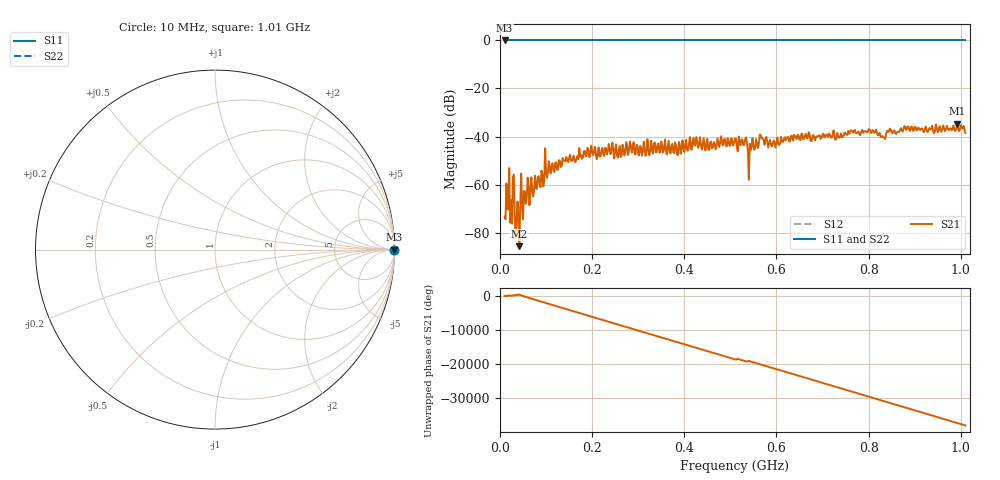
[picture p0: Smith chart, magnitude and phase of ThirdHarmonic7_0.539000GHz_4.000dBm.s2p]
! 8/17/2025 4:11:41 PM
! C:\ANRITSUVNA\TEMP\TEMP.S2P
! CHANNEL.1
! TR.MEASUREMENT
! RAW.DATA
! RF.CORRECTION.OFF
! AVERAGING.OFF
! IF.BANDWIDTH: 5KHZ
! SWEEPTYPE:  FREQ.SWEEP(Linear)
! Reference Plane Port Info
! PORT:  PORT1  PORT2
! DISTANCE:  0  m  0  m
! TIME:  0  s  0  s
! PHASE.OFFSET:  0  deg.  0  deg.
! LOSS:  0  dB  0  dB
! REF.LOSS:  0  dB  0  dB
! REF.FREQ:  0  Hz  0  Hz
! Power Info
! POWER:  -20  dBm  -20  dBm
! EFF.POWER:  -20  dBm  -20  dBm
! SOURCE.ATTEN:  0  dB  0  dB
! TEST.ATTEN:  0  dB  0  dB
# GHZ S RI R 50.0
! FREQ.GHZ  S11RE  S11IM  S21RE  S21IM  S12RE  S12IM  S22RE  S22IM
!; PortSelection: Port_12
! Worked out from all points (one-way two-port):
!   501 points, 10 MHz to 1.01 GHz, reference 50 ohm
!   highest |S21| = -34.71 dB at 992 MHz (marker M1); lowest = -85.7 dB at 42 MHz (marker M2)
!   lowest |S11| = 0.0 dB at 10 MHz (marker M3)
!   |S11| at or under -10 dB: nowhere
!   |S22| runs from 0.0 to 0.0 dB; largest |S21 - S12| = 1
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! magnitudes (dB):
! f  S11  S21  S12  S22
! 10 MHz  0.0  -73.4  0.0  0.0
! 16 MHz  0.0  -70.0  0.0  0.0
! 22 MHz  0.0  -76.0  0.0  0.0
! 28 MHz  0.0  -57.1  0.0  0.0
! 38 MHz  0.0  -67.1  0.0  0.0
! 42 MHz  0.0  -85.7  0.0  0.0
! 64 MHz  0.0  -68.6  0.0  0.0
! 92 MHz  0.0  -55.8  0.0  0.0
! 102 MHz  0.0  -57.2  0.0  0.0
! 178 MHz  0.0  -49.3  0.0  0.0
! 344 MHz  0.0  -43.0  0.0  0.0
! 510 MHz  0.0  -40.7  0.0  0.0
! 532 MHz  0.0  -41.1  0.0  0.0
! 542 MHz  0.0  -43.0  0.0  0.0
! 546 MHz  0.0  -44.4  0.0  0.0
! 568 MHz  0.0  -40.8  0.0  0.0
! 586 MHz  0.0  -41.4  0.0  0.0
! 678 MHz  0.0  -40.0  0.0  0.0
! 832 MHz  0.0  -40.3  0.0  0.0
! 844 MHz  0.0  -38.0  0.0  0.0
! 992 MHz  0.0  -34.7  0.0  0.0
! 1.01 GHz  0.0  -38.5  0.0  0.0
